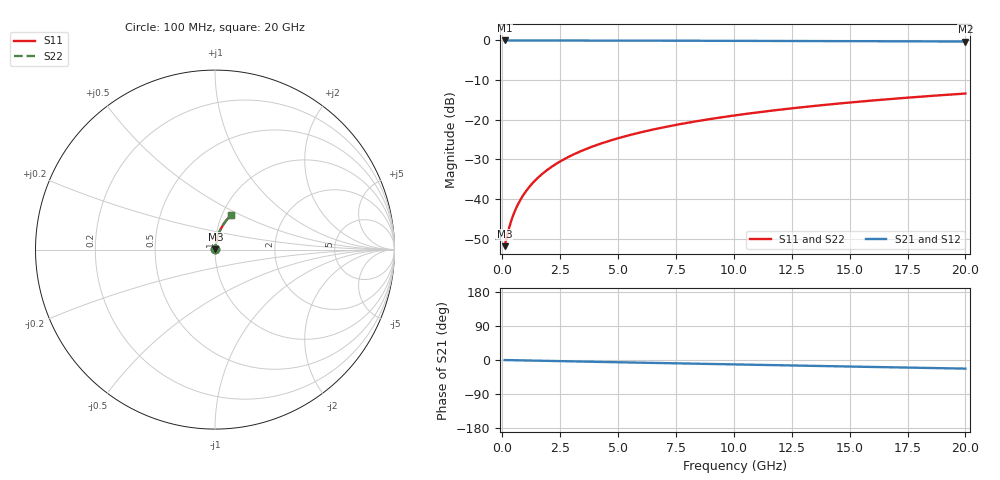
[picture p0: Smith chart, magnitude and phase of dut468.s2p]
! Touchstone file exported from HFSS 2026.1.0
!  File:  C:/ffzhzh/LocalFiles/Ansys_Project_Files/temp_train_TMRDL_468_1783006165_51716.aedt
!  Generated:  11:30:44 PM Jul  2, 2026
!  Design:  TMRDL
!  Project:  temp_train_TMRDL_468_1783006165_51716
! Variables:
!  h_bsmrdl = 2um
!  h_ox = 20um
!  h_rdl = 5um
!  h_sub = 80um
!  h_tmrdl = 5.11um
!  h_tsv = 80um
!  h_via = 3um
!  l_bsmrdl = 300um
!  l_sub = 733.26um
!  l_tmrdl = 333.26um
!  m_sub = 200um
!  pitch = 27.79um
!  r_tsv = 6um
!  s_tmrdl = 10um
!  w_bsmrdl = 18um
!  w_sub = 500um
!  w_tmrdl = 10.81um
!  x_tsv_center1 = 338.665um
!  x_tsv_center2 = 656.665um
!  x_tsv_center3 = 1000.735um
!  x_tsv_center4 = 1318.735um
!  x_tsv_center5 = 1662.805um
!  x_tsv_center6 = 1980.805um
# GHz S MA R 50.000000
! Terminal data exported
! Port[1] = TM_RDL1_1_T1
! Port[2] = TM_RDL1_1_T2
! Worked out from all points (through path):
!   200 points, 100 MHz to 20 GHz, reference 50 ohm
!   highest |S21| = -0.02 dB at 100 MHz (marker M1); lowest = -0.3 dB at 20 GHz (marker M2)
!   group delay of S21, straight-line fit = 3.15 ps
!   lowest |S11| = -51.8 dB at 100 MHz (marker M3), VSWR 1.01, Z = 50.2 + j0.128 ohm
!   |S11| at or under -10 dB: start of sweep to end of sweep
!   |S22| runs from -51.8 to -13.4 dB; largest |S21 - S12| = 2.7e-15
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0.1  0.002557 29.9  0.9978 -0.1  0.9978 -0.1  0.002557 29.9
! Gamma 0 0 0 0
! Port Impedance 50 0 50 0
0.3  0.004411 57.7  0.9977 -0.4  0.9977 -0.4  0.004411 57.7
0.4  0.005487 63.8  0.9976 -0.5  0.9976 -0.5  0.005487 63.8
0.5  0.006594 67.8  0.9975 -0.6  0.9975 -0.6  0.006594 67.8
0.6  0.007719 70.7  0.9975 -0.7  0.9975 -0.7  0.007719 70.7
0.8  0.01001 74.4  0.9974 -1.0  0.9974 -1.0  0.01001 74.4
1  0.01232 76.7  0.9973 -1.2  0.9973 -1.2  0.01232 76.7
1.2  0.01466 78.2  0.9972 -1.4  0.9972 -1.4  0.01466 78.2
1.4  0.017 79.2  0.9971 -1.7  0.9971 -1.7  0.017 79.2
1.7  0.02052 80.1  0.997 -2.0  0.997 -2.0  0.02052 80.1
2.2  0.02637 80.9  0.9966 -2.6  0.9966 -2.6  0.02637 80.9
2.8  0.03337 81.0  0.9962 -3.3  0.9962 -3.3  0.03337 81.0
3.5  0.04146 80.8  0.9955 -4.2  0.9955 -4.2  0.04146 80.8
4.2  0.04946 80.4  0.9948 -5.0  0.9948 -5.0  0.04946 80.4
5  0.05851 79.7  0.9939 -5.9  0.9939 -5.9  0.05851 79.7
5.9  0.06857 78.9  0.9928 -7.0  0.9928 -7.0  0.06856 78.9
6.8  0.0785 78.1  0.9916 -8.0  0.9916 -8.0  0.0785 78.1
8.3  0.09484 76.6  0.9895 -9.7  0.9895 -9.7  0.09484 76.6
10.1  0.1141 74.8  0.9867 -11.8  0.9867 -11.8  0.1141 74.8
13.4  0.1486 71.5  0.9811 -15.5  0.9811 -15.5  0.1486 71.5
16.7  0.1819 68.1  0.9746 -19.1  0.9746 -19.1  0.1819 68.1
20  0.214 64.7  0.9674 -22.7  0.9674 -22.7  0.214 64.7
